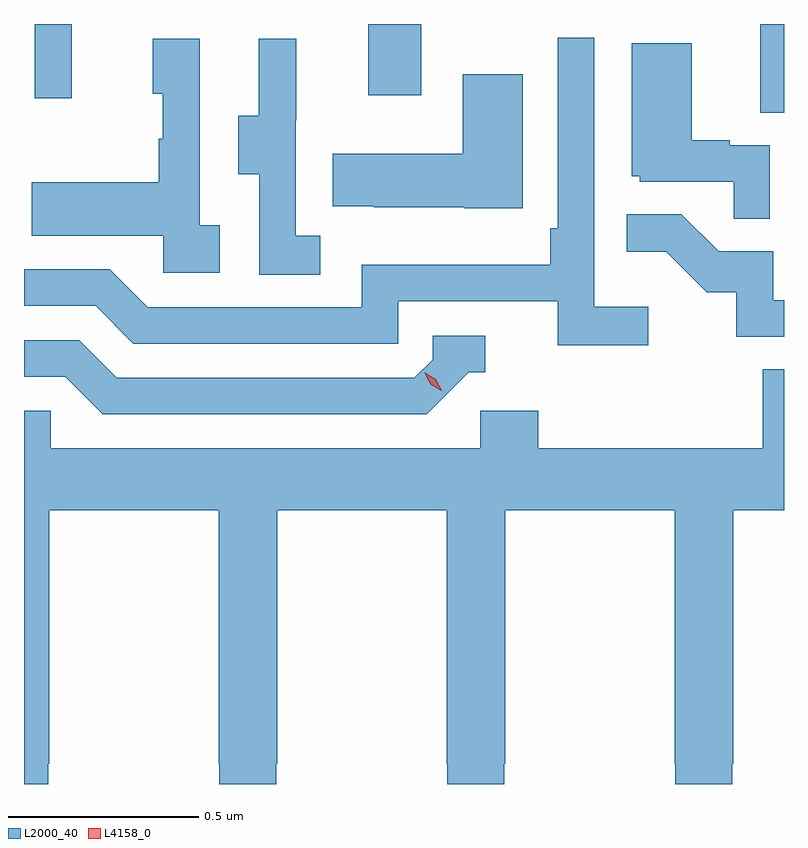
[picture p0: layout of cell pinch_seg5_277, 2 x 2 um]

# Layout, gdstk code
import gdstk
lib = gdstk.Library(unit=1e-6, precision=1e-09)
def R(c, l, rs):  # rectangles x0, y0, x1, y1
    for r in rs: c.add(gdstk.rectangle(r[:2], r[2:], *l))
def P(c, l, *ps):  # polygons
    for p in ps: c.add(gdstk.Polygon(p, *l))
L2000_40 = (2000, 40)
L4158_0 = (4158, 0)

pinch_seg5_277 = lib.new_cell('pinch_seg5_277')
R(pinch_seg5_277, L2000_40, [(892.067,909.754,892.129,909.988), (890.157,909.792,890.255,909.988), (891.035,909.801,891.175,909.988)])
P(pinch_seg5_277, L2000_40, [(891.772,909.244),(891.63,909.244),(891.63,909.952),(891.534,909.952),(891.534,909.451),(891.514,909.451),(891.514,909.355),(891.018,909.355),(891.018,909.243),(890.454,909.243),(890.355,909.342),(890.129,909.342),(890.129,909.246),(890.318,909.246),(890.417,909.147),(891.114,909.147),(891.114,909.258),(891.533,909.258),(891.533,909.142),(891.772,909.142)],
  [(890.644,909.458),(890.592,909.458),(890.592,909.949),(890.468,909.949),(890.468,909.804),(890.494,909.804),(890.494,909.686),(890.484,909.686),(890.484,909.571),(890.149,909.571),(890.149,909.431),(890.496,909.431),(890.496,909.333),(890.644,909.333)],
  [(890.908,909.431),(890.844,909.431),(890.844,909.735),(890.846,909.735),(890.846,909.949),(890.747,909.949),(890.747,909.747),(890.693,909.747),(890.693,909.592),(890.748,909.592),(890.748,909.328),(890.908,909.328)],
  [(892.092,909.669),(891.986,909.669),(891.986,909.682),(891.886,909.682),(891.886,909.937),(891.728,909.937),(891.728,909.588),(891.75,909.588),(891.75,909.573),(891.997,909.573),(891.997,909.475),(892.092,909.475)],
  [(891.442,909.856),(891.284,909.856),(891.284,909.646),(890.941,909.646),(890.941,909.509),(891.049,909.509),(891.049,909.506),(891.288,909.506),(891.288,909.503),(891.442,909.503)],
  [(892.129,909.261),(892.101,909.261),(892.101,909.39),(891.957,909.39),(891.859,909.488),(891.715,909.488),(891.715,909.389),(891.819,909.389),(891.926,909.282),(892.003,909.282),(892.003,909.165),(892.129,909.165)],
  [(891.3,909.072),(891.343,909.072),(891.343,909.168),(891.204,909.168),(891.204,909.105),(891.156,909.057),(890.373,909.057),(890.274,909.156),(890.129,909.156),(890.129,909.063),(890.13,909.063),(890.13,909.06),(890.237,909.06),(890.336,908.961),(891.189,908.961)],
  [(891.33,908.872),(890.199,908.872),(890.199,908.97),(890.129,908.97),(890.129,907.988),(890.193,907.988),(890.193,908.041),(890.196,908.041),(890.196,908.708),(890.641,908.708),(890.641,908.041),(890.643,908.041),(890.643,907.988),(890.793,907.988),(890.793,908.041),(890.796,908.041),(890.796,908.708),(891.241,908.708),(891.241,908.041),(891.243,908.041),(891.243,907.988),(891.393,907.988),(891.393,908.041),(891.396,908.041),(891.396,908.708),(891.841,908.708),(891.841,908.041),(891.843,908.041),(891.843,907.988),(891.993,907.988),(891.993,908.041),(891.996,908.041),(891.996,908.708),(892.129,908.708),(892.129,909.08),(892.073,909.08),(892.073,908.872),(891.482,908.872),(891.482,908.97),(891.33,908.97)])
P(pinch_seg5_277, L4158_0, [(891.229,909.021),(891.198,909.04),(891.182,909.072),(891.182,909.072),(891.182,909.072),(891.213,909.053),(891.229,909.021),(891.229,909.021)])

lib.write_gds('pinch_seg5_277.gds')
